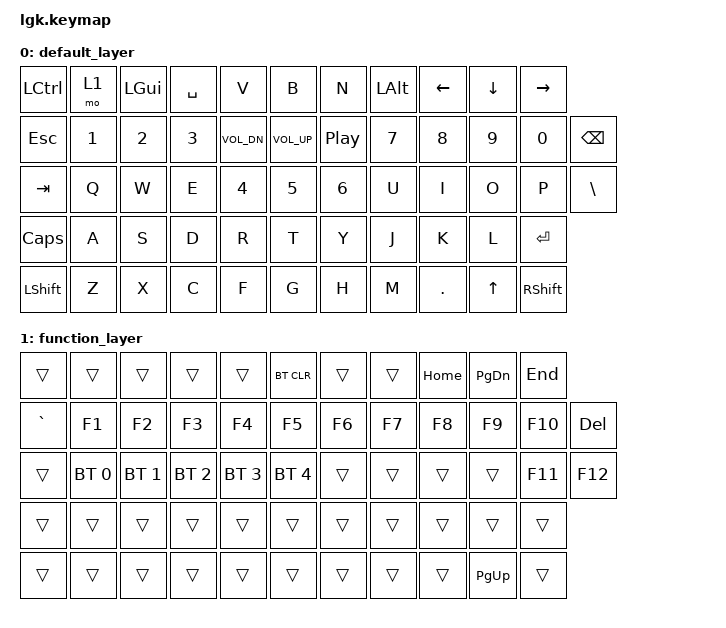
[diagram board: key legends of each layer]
/*
 * Copyright (c) 2025
 * SPDX-License-Identifier: MIT
 */

#include <behaviors.dtsi>
#include <dt-bindings/zmk/keys.h>
#include <dt-bindings/zmk/bt.h>

/ {
    keymap {
        compatible = "zmk,keymap";

        default_layer {
            bindings = <
                // Row 0 (sorted): Physical row 5 (ctrl row) - 11 keys
                &kp LCTRL  &mo 1      &kp LGUI   &kp SPACE    &kp V         &kp B         &kp N       &kp LALT  &kp LEFT  &kp DOWN   &kp RIGHT
                // Row 1 (sorted): Physical row 1 (esc row) - 12 keys
                &kp ESC    &kp N1     &kp N2     &kp N3       &kp C_VOL_DN  &kp C_VOL_UP  &kp C_PP    &kp N7    &kp N8    &kp N9     &kp N0     &kp BSPC
                // Row 2 (sorted): Physical row 2 (tab row) - 12 keys
                &kp TAB    &kp Q      &kp W      &kp E        &kp N4        &kp N5        &kp N6      &kp U     &kp I     &kp O      &kp P      &kp BSLH
                // Row 3 (sorted): Physical row 3 (caps row) - 11 keys
                &kp CLCK   &kp A      &kp S      &kp D        &kp R         &kp T         &kp Y       &kp J     &kp K     &kp L      &kp RET
                // Row 4 (sorted): Physical row 4 (shift row) - 11 keys
                &kp LSHFT  &kp Z      &kp X      &kp C        &kp F         &kp G         &kp H       &kp M     &kp DOT   &kp UP     &kp RSHFT
            >;
        };

        function_layer {
            bindings = <
                // Row 0 (sorted): Physical row 5 (ctrl row) - navigation and BT clear
                &trans     &trans     &trans     &trans       &trans        &bt BT_CLR    &trans      &trans    &kp HOME  &kp PG_DN  &kp END
                // Row 1 (sorted): Physical row 1 (esc row) - Function keys
                &kp GRAVE  &kp F1     &kp F2     &kp F3       &kp F4        &kp F5        &kp F6      &kp F7    &kp F8    &kp F9     &kp F10    &kp DEL
                // Row 2 (sorted): Physical row 2 (tab row) - Bluetooth controls
                &trans     &bt BT_SEL 0  &bt BT_SEL 1  &bt BT_SEL 2  &bt BT_SEL 3  &bt BT_SEL 4  &trans      &trans    &trans    &trans     &kp F11    &kp F12
                // Row 3 (sorted): Physical row 3 (caps row)
                &trans     &trans     &trans     &trans       &trans        &trans        &trans      &trans    &trans    &trans     &trans
                // Row 4 (sorted): Physical row 4 (shift row) - Navigation
                &trans     &trans     &trans     &trans       &trans        &trans        &trans      &trans    &trans    &kp PG_UP  &trans
            >;
        };
    };
};
